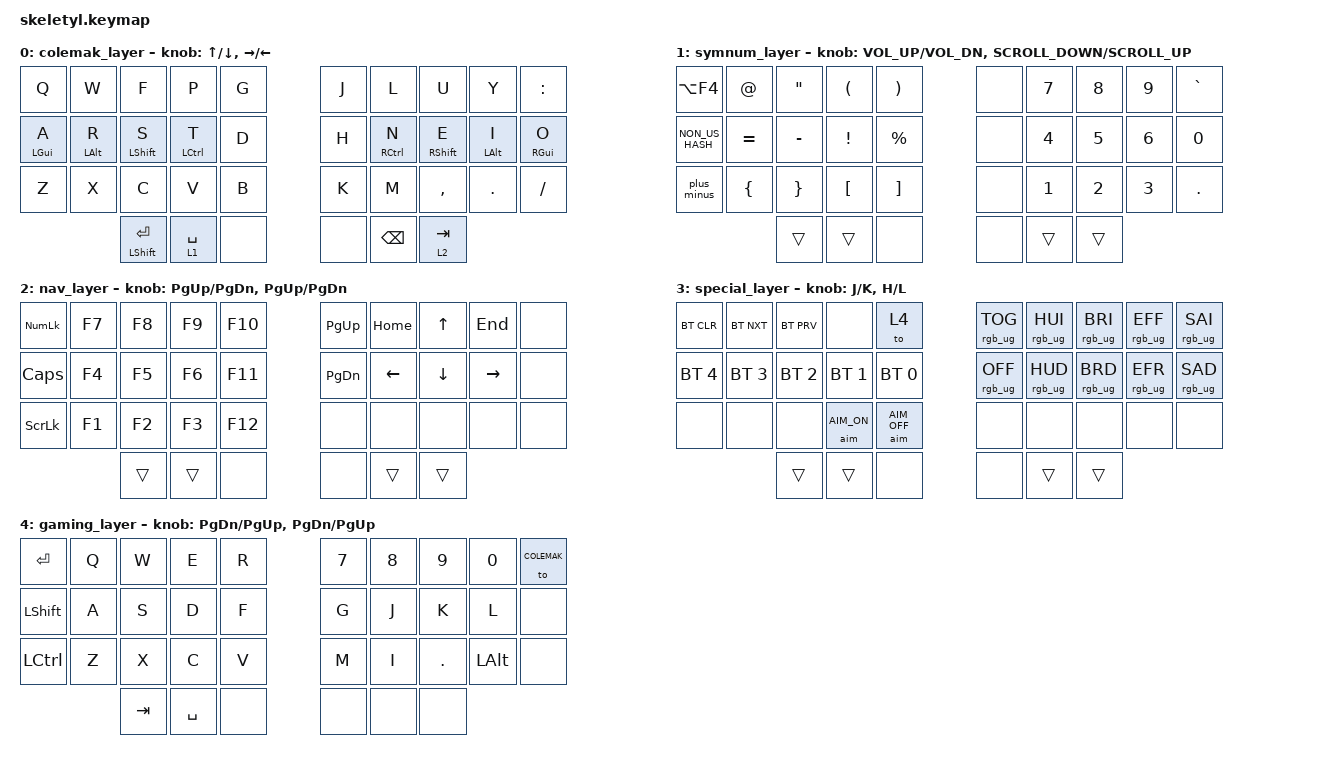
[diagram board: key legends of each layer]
/*
 * Copyright (c) 2020 The ZMK Contributors
 *
 * SPDX-License-Identifier: MIT
 */

#include <dt-bindings/zmk/pointing.h>
#include <behaviors/anti_idle_mode.dtsi>
#include <dt-bindings/anti_idle_mode.h>
#include <behaviors.dtsi>
#include <dt-bindings/zmk/bt.h>
#include <dt-bindings/zmk/keys.h>
#include <dt-bindings/zmk/rgb.h>

// Layer Definitions

#define COLEMAK 0
#define SYMNUM 1
#define NAV 2
#define SPECIAL 3
#define GAMING 4
#define WOTR 5

/ {
    anti_idle {
        compatible = "zmk,anti-idle-generic";
        interval-ms = <60000>;
        bindings = <&mmv MOVE_DOWN &mmv MOVE_UP>;
        tap_ms = <40>;
        wait_ms = <200>;
    };
};

/ {
    // --- Combos ---

    combos {
        compatible = "zmk,combos";

        combo_esc {
            timeout-ms = <40>;
            key-positions = <1 2>;
            bindings = <&kp ESC>;
        };

        combo_underscore {
            timeout-ms = <35>;
            key-positions = <12 13>;
            bindings = <&kp UNDER>;
        };

        combo_quote {
            timeout-ms = <35>;
            key-positions = <17 18>;
            bindings = <&kp SQT>;
        };

        combo_del {
            timeout-ms = <40>;
            key-positions = <10 11>;
            bindings = <&kp DEL>;
        };

        combo_bslsh {
            timeout-ms = <40>;
            key-positions = <7 8>;
            bindings = <&kp NON_US_BSLH>;
        };

        combo_caps {
            timeout-ms = <40>;
            key-positions = <12 17>;
            bindings = <&caps_word>;
        };

        combo_rbrkt {
            bindings = <&kp RIGHT_BRACKET>;
            key-positions = <23 24>;
        };

        combo_lbrkt {
            bindings = <&kp LEFT_BRACKET>;
            key-positions = <23 22>;
        };

        combo_semicolon {
            bindings = <&kp SEMICOLON>;
            key-positions = <9 8>;
        };

        combo_rpar {
            bindings = <&kp RIGHT_PARENTHESIS>;
            key-positions = <3 4>;
        };

        combo_lpar {
            bindings = <&kp LEFT_PARENTHESIS>;
            key-positions = <3 2>;
        };

        combo_dquotes {
            bindings = <&kp AT>;
            key-positions = <2 31>;
        };

        combo_tmux {
            bindings = <&kp LC(B)>;
            key-positions = <13 24>;
        };

        combo_minus {
            bindings = <&kp MINUS>;
            key-positions = <2 12>;
        };

        combo_exclm {
            bindings = <&kp EXCLAMATION>;
            key-positions = <3 13>;
        };

        combo_eq {
            bindings = <&kp EQUAL>;
            key-positions = <1 11>;
        };

        combo_lbrc {
            bindings = <&kp LEFT_BRACE>;
            key-positions = <20 21>;
        };

        combo_rbrc {
            bindings = <&kp RIGHT_BRACE>;
            key-positions = <21 22>;
        };
    };

    // --- Conditional Layers (Tri Layer) ---

    conditional_layers {
        compatible = "zmk,conditional-layers";

        tri_layer {
            if-layers = <SYMNUM NAV>;
            then-layer = <SPECIAL>;
        }; // Activate SPECIAL if SYMNUM & NAV are active
    };

    // --- Custom Behaviors ---

    behaviors {
        // Homerow Mods Hold-Tap Definition

        hm: homerow_mods {
            compatible = "zmk,behavior-hold-tap";
            #binding-cells = <2>;
            tapping-term-ms = <220>;
            quick-tap-ms = <125>; // Optional: ms before quick tap ends
            flavor = "tap-preferred"; // Tapping is preferred over holding
            bindings = <&kp>, <&kp>;

            // Behavior expects two bindings: <hold>, <tap>
        };

        // Add other custom behaviors here if needed
    };

    // --- Macros ---

    macros {
        plus_minus: plus_minus {
            compatible = "zmk,behavior-macro";
            #binding-cells = <0>;
            bindings =
                <&macro_press>,
                <&kp LALT>,
                <&macro_tap>,
                <&kp KP_NUMBER_2 &kp KP_NUMBER_4 &kp KP_NUMBER_1>,
                <&macro_release>,
                <&kp LEFT_ALT>;
        };
    };

    // --- Keymap ---

    keymap {
        compatible = "zmk,keymap";

        // Layer 0: Colemak Base Layer

        colemak_layer {
            bindings = <
  &kp Q       &kp W       &kp F             &kp P        &kp G    &kp J  &kp L          &kp U        &kp Y       &kp COLON
  &hm LGUI A  &hm LALT R  &hm LSHFT S       &hm LCTRL T  &kp D    &kp H  &hm RCTRL N    &hm RSHFT E  &hm LALT I  &hm RGUI O
  &kp Z       &kp X       &kp C             &kp V        &kp B    &kp K  &kp M          &kp COMMA    &kp DOT     &kp FSLH
                          &mt LSHIFT ENTER  &lt 1 SPACE  &none    &none  &kp BACKSPACE  &lt 2 TAB
            >;

            sensor-bindings = <&inc_dec_kp UP DOWN   &inc_dec_kp RIGHT LEFT>;
        };

        // Layer 1: Symbols & Numbers

        symnum_layer {
            bindings = <
  &kp LA(F4)       &kp AT     &kp DQT    &kp LPAR  &kp RPAR     &none  &kp N7  &kp N8  &kp N9  &kp GRAVE
  &kp NON_US_HASH  &kp EQUAL  &kp MINUS  &kp EXCL  &kp PRCNT    &none  &kp N4  &kp N5  &kp N6  &kp N0
  &plus_minus      &kp LBRC   &kp RBRC   &kp LBKT  &kp RBKT     &none  &kp N1  &kp N2  &kp N3  &kp DOT
                              &trans     &trans    &none        &none  &trans  &trans
            >;

            sensor-bindings = <&inc_dec_kp C_VOL_UP C_VOL_DN   &inc_dec_kp K_SCROLL_DOWN K_SCROLL_UP>;
        };

        // Layer 2: Navigation & Function Keys

        nav_layer {
            bindings = <
  &kp KP_NUMLOCK  &kp F7  &kp F8  &kp F9  &kp F10    &kp PG_UP  &kp HOME  &kp UP    &kp END    &none
  &kp CAPS        &kp F4  &kp F5  &kp F6  &kp F11    &kp PG_DN  &kp LEFT  &kp DOWN  &kp RIGHT  &none
  &kp SCROLLLOCK  &kp F1  &kp F2  &kp F3  &kp F12    &none      &none     &none     &none      &none
                          &trans  &trans  &none      &none      &trans    &trans
            >;

            sensor-bindings = <&inc_dec_kp PG_UP PG_DN &inc_dec_kp PG_UP PG_DN>; // Example: Both Page Up/Down
        };

        // Layer 3: Special Keys (Activated by SYMNUM + NAV)

        special_layer {
            bindings = <
  &bt BT_CLR    &bt BT_NXT    &bt BT_PRV    &none         &to 4           &rgb_ug RGB_TOG  &rgb_ug RGB_HUI  &rgb_ug RGB_BRI  &rgb_ug RGB_EFF  &rgb_ug RGB_SAI
  &bt BT_SEL 4  &bt BT_SEL 3  &bt BT_SEL 2  &bt BT_SEL 1  &bt BT_SEL 0    &rgb_ug RGB_OFF  &rgb_ug RGB_HUD  &rgb_ug RGB_BRD  &rgb_ug RGB_EFR  &rgb_ug RGB_SAD
  &none         &none         &none         &aim AIM_ON   &aim AIM_OFF    &none            &none            &none            &none            &none
                              &trans        &trans        &none           &none            &trans           &trans
            >;

            sensor-bindings = <&inc_dec_kp J K   &inc_dec_kp H L>;
        };

        // Layer 4: Gaming Layer

        gaming_layer {
            bindings = <
  &kp ENTER  &kp Q  &kp W    &kp E      &kp R    &kp N7  &kp N8  &kp N9   &kp N0    &to COLEMAK
  &kp LSHFT  &kp A  &kp S    &kp D      &kp F    &kp G   &kp J   &kp K    &kp L     &none
  &kp LCTRL  &kp Z  &kp X    &kp C      &kp V    &kp M   &kp I   &kp DOT  &kp LALT  &none
                    &kp TAB  &kp SPACE  &none    &none   &none   &none
            >;

            sensor-bindings = <&inc_dec_kp PG_DN PG_UP &inc_dec_kp PG_DN PG_UP>;
        };
    };
};
